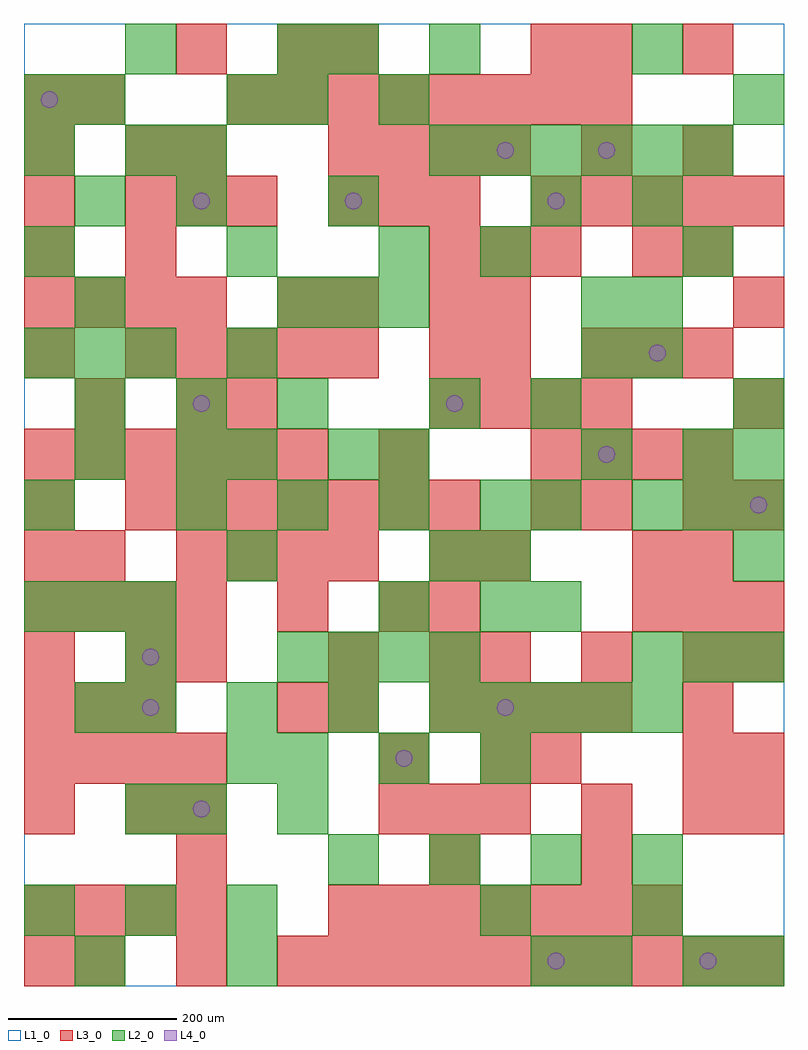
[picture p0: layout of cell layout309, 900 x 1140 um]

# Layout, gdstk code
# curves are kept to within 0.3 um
import gdstk
lib = gdstk.Library(unit=1e-6, precision=1e-09)
def R(c, l, rs):  # rectangles x0, y0, x1, y1
    for r in rs: c.add(gdstk.rectangle(r[:2], r[2:], *l))
def A(c, l, x, y, w, h, nx, ny, dx, dy):  # array of equal rectangles
    R(c, l, [(x+i*dx, y+j*dy, x+i*dx+w, y+j*dy+h) for i in range(nx) for j in range(ny)])
def P(c, l, *ps):  # polygons
    for p in ps: c.add(gdstk.Polygon(p, *l))
L1_0 = (1, 0)
L2_0 = (2, 0)
L3_0 = (3, 0)
L4_0 = (4, 0)

layout309 = lib.new_cell('layout309')
R(layout309, L1_0, [(0,0,900,1140)])
A(layout309, L2_0, 60, 0, 60, 60, 1, 3, 0, 300)
A(layout309, L2_0, 240, 0, 60, 60, 1, 3, 0, 240)
A(layout309, L2_0, 0, 60, 60, 60, 3, 1, 120, 0)
A(layout309, L2_0, 360, 120, 60, 60, 4, 1, 120, 0)
A(layout309, L2_0, 300, 240, 60, 60, 3, 1, 120, 0)
A(layout309, L2_0, 120, 300, 60, 60, 4, 1, 120, 0)
A(layout309, L2_0, 540, 300, 60, 60, 4, 1, 60, 0)
A(layout309, L2_0, 300, 360, 60, 60, 4, 1, 60, 0)
A(layout309, L2_0, 720, 360, 60, 60, 3, 2, 60, 180)
A(layout309, L2_0, 0, 420, 60, 60, 3, 2, 60, 300)
A(layout309, L2_0, 600, 420, 60, 60, 1, 3, 0, 120)
A(layout309, L2_0, 180, 540, 60, 60, 4, 1, 120, 0)
A(layout309, L2_0, 240, 600, 60, 60, 1, 3, 0, 120)
A(layout309, L2_0, 60, 660, 60, 60, 3, 1, 120, 0)
A(layout309, L2_0, 60, 780, 60, 60, 1, 3, 0, 120)
A(layout309, L2_0, 300, 780, 60, 60, 3, 1, 60, 0)
A(layout309, L2_0, 480, 960, 60, 60, 6, 1, 60, 0)
R(layout309, L2_0, [(600,0,660,60), (660,0,720,60), (780,0,840,60), (840,0,900,60), (540,60,600,120), (720,60,780,120), (120,180,180,240), (180,180,240,240), (300,180,360,240), (120,360,180,420), (420,420,480,480), (540,420,600,480), (480,480,540,540), (540,480,600,540), (840,480,900,540), (0,540,60,600), (180,600,240,660), (360,600,420,660), (420,600,480,660), (660,600,720,660), (780,600,840,660), (840,600,900,660), (480,660,540,720), (840,660,900,720), (660,720,720,780), (720,720,780,780), (660,780,720,840), (720,780,780,840), (0,840,60,900), (420,840,480,900), (540,840,600,900), (780,840,840,900), (180,900,240,960), (360,900,420,960), (600,900,660,960), (720,900,780,960), (0,960,60,1020), (120,960,180,1020), (180,960,240,1020), (0,1020,60,1080), (240,1020,300,1080), (300,1020,360,1080), (420,1020,480,1080), (840,1020,900,1080), (120,1080,180,1140), (300,1080,360,1140), (360,1080,420,1140), (480,1080,540,1140), (720,1080,780,1140)])
A(layout309, L3_0, 0, 0, 60, 60, 1, 3, 0, 180)
A(layout309, L3_0, 60, 0, 60, 60, 3, 1, 120, 0)
A(layout309, L3_0, 360, 0, 60, 60, 9, 1, 60, 0)
A(layout309, L3_0, 0, 60, 60, 60, 4, 3, 60, 180)
A(layout309, L3_0, 360, 60, 60, 60, 7, 1, 60, 0)
A(layout309, L3_0, 420, 180, 60, 60, 3, 1, 60, 0)
A(layout309, L3_0, 780, 180, 60, 60, 1, 3, 0, 60)
A(layout309, L3_0, 420, 240, 60, 60, 1, 3, 0, 180)
A(layout309, L3_0, 540, 240, 60, 60, 1, 3, 0, 240)
A(layout309, L3_0, 0, 300, 60, 60, 3, 1, 60, 0)
A(layout309, L3_0, 480, 300, 60, 60, 4, 2, 60, 360)
A(layout309, L3_0, 180, 360, 60, 60, 1, 3, 0, 300)
A(layout309, L3_0, 480, 360, 60, 60, 1, 3, 0, 60)
A(layout309, L3_0, 540, 360, 60, 60, 3, 1, 120, 0)
A(layout309, L3_0, 720, 420, 60, 60, 3, 1, 60, 0)
A(layout309, L3_0, 180, 480, 60, 60, 4, 1, 60, 0)
A(layout309, L3_0, 120, 540, 60, 60, 7, 1, 60, 0)
A(layout309, L3_0, 840, 540, 60, 60, 1, 3, 0, 120)
A(layout309, L3_0, 0, 600, 60, 60, 6, 1, 60, 0)
A(layout309, L3_0, 600, 600, 60, 60, 4, 1, 60, 0)
A(layout309, L3_0, 120, 720, 60, 60, 5, 1, 60, 0)
A(layout309, L3_0, 660, 720, 60, 60, 3, 1, 60, 0)
A(layout309, L3_0, 0, 780, 60, 60, 4, 1, 60, 0)
A(layout309, L3_0, 0, 840, 60, 60, 1, 4, 0, 60)
A(layout309, L3_0, 480, 840, 60, 60, 3, 1, 60, 0)
A(layout309, L3_0, 780, 840, 60, 60, 1, 3, 0, 120)
A(layout309, L3_0, 120, 900, 60, 60, 3, 1, 60, 0)
A(layout309, L3_0, 360, 900, 60, 60, 3, 1, 60, 0)
A(layout309, L3_0, 600, 900, 60, 60, 5, 1, 60, 0)
A(layout309, L3_0, 360, 960, 60, 60, 4, 1, 60, 0)
A(layout309, L3_0, 240, 1020, 60, 60, 8, 1, 60, 0)
R(layout309, L3_0, [(180,120,240,180), (480,120,540,180), (660,120,720,180), (120,180,180,240), (180,180,240,240), (660,180,720,240), (840,180,900,240), (600,240,660,300), (840,240,900,300), (300,300,360,360), (360,300,420,360), (120,360,180,420), (360,360,420,420), (840,360,900,420), (300,420,360,480), (0,480,60,540), (60,480,120,540), (720,480,780,540), (780,480,840,540), (0,540,60,600), (600,540,660,600), (660,540,720,600), (780,540,840,600), (60,660,120,720), (240,660,300,720), (0,720,60,780), (480,720,540,780), (300,780,360,840), (360,780,420,840), (480,780,540,840), (540,780,600,840), (120,840,180,900), (720,840,780,900), (120,960,180,1020), (660,960,720,1020), (60,1020,120,1080), (180,1080,240,1140), (300,1080,360,1140), (360,1080,420,1140), (600,1080,660,1140), (660,1080,720,1140)])
P(layout309, L4_0, [(40,1050),(39.239,1053.827),(37.071,1057.071),(33.827,1059.239),(30,1060),(26.173,1059.239),(22.929,1057.071),(20.761,1053.827),(20,1050),(20.761,1046.173),(22.929,1042.929),(26.173,1040.761),(30,1040),(33.827,1040.761),(37.071,1042.929),(39.239,1046.173)],
  [(160,330),(159.239,333.827),(157.071,337.071),(153.827,339.239),(150,340),(146.173,339.239),(142.929,337.071),(140.761,333.827),(140,330),(140.761,326.173),(142.929,322.929),(146.173,320.761),(150,320),(153.827,320.761),(157.071,322.929),(159.239,326.173)],
  [(160,390),(159.239,393.827),(157.071,397.071),(153.827,399.239),(150,400),(146.173,399.239),(142.929,397.071),(140.761,393.827),(140,390),(140.761,386.173),(142.929,382.929),(146.173,380.761),(150,380),(153.827,380.761),(157.071,382.929),(159.239,386.173)],
  [(220,210),(219.239,213.827),(217.071,217.071),(213.827,219.239),(210,220),(206.173,219.239),(202.929,217.071),(200.761,213.827),(200,210),(200.761,206.173),(202.929,202.929),(206.173,200.761),(210,200),(213.827,200.761),(217.071,202.929),(219.239,206.173)],
  [(220,690),(219.239,693.827),(217.071,697.071),(213.827,699.239),(210,700),(206.173,699.239),(202.929,697.071),(200.761,693.827),(200,690),(200.761,686.173),(202.929,682.929),(206.173,680.761),(210,680),(213.827,680.761),(217.071,682.929),(219.239,686.173)],
  [(220,930),(219.239,933.827),(217.071,937.071),(213.827,939.239),(210,940),(206.173,939.239),(202.929,937.071),(200.761,933.827),(200,930),(200.761,926.173),(202.929,922.929),(206.173,920.761),(210,920),(213.827,920.761),(217.071,922.929),(219.239,926.173)],
  [(400,930),(399.239,933.827),(397.071,937.071),(393.827,939.239),(390,940),(386.173,939.239),(382.929,937.071),(380.761,933.827),(380,930),(380.761,926.173),(382.929,922.929),(386.173,920.761),(390,920),(393.827,920.761),(397.071,922.929),(399.239,926.173)],
  [(460,270),(459.239,273.827),(457.071,277.071),(453.827,279.239),(450,280),(446.173,279.239),(442.929,277.071),(440.761,273.827),(440,270),(440.761,266.173),(442.929,262.929),(446.173,260.761),(450,260),(453.827,260.761),(457.071,262.929),(459.239,266.173)],
  [(520,690),(519.239,693.827),(517.071,697.071),(513.827,699.239),(510,700),(506.173,699.239),(502.929,697.071),(500.761,693.827),(500,690),(500.761,686.173),(502.929,682.929),(506.173,680.761),(510,680),(513.827,680.761),(517.071,682.929),(519.239,686.173)],
  [(580,330),(579.239,333.827),(577.071,337.071),(573.827,339.239),(570,340),(566.173,339.239),(562.929,337.071),(560.761,333.827),(560,330),(560.761,326.173),(562.929,322.929),(566.173,320.761),(570,320),(573.827,320.761),(577.071,322.929),(579.239,326.173)],
  [(580,990),(579.239,993.827),(577.071,997.071),(573.827,999.239),(570,1000),(566.173,999.239),(562.929,997.071),(560.761,993.827),(560,990),(560.761,986.173),(562.929,982.929),(566.173,980.761),(570,980),(573.827,980.761),(577.071,982.929),(579.239,986.173)],
  [(640,30),(639.239,33.827),(637.071,37.071),(633.827,39.239),(630,40),(626.173,39.239),(622.929,37.071),(620.761,33.827),(620,30),(620.761,26.173),(622.929,22.929),(626.173,20.761),(630,20),(633.827,20.761),(637.071,22.929),(639.239,26.173)],
  [(640,930),(639.239,933.827),(637.071,937.071),(633.827,939.239),(630,940),(626.173,939.239),(622.929,937.071),(620.761,933.827),(620,930),(620.761,926.173),(622.929,922.929),(626.173,920.761),(630,920),(633.827,920.761),(637.071,922.929),(639.239,926.173)],
  [(700,630),(699.239,633.827),(697.071,637.071),(693.827,639.239),(690,640),(686.173,639.239),(682.929,637.071),(680.761,633.827),(680,630),(680.761,626.173),(682.929,622.929),(686.173,620.761),(690,620),(693.827,620.761),(697.071,622.929),(699.239,626.173)],
  [(700,990),(699.239,993.827),(697.071,997.071),(693.827,999.239),(690,1000),(686.173,999.239),(682.929,997.071),(680.761,993.827),(680,990),(680.761,986.173),(682.929,982.929),(686.173,980.761),(690,980),(693.827,980.761),(697.071,982.929),(699.239,986.173)],
  [(760,750),(759.239,753.827),(757.071,757.071),(753.827,759.239),(750,760),(746.173,759.239),(742.929,757.071),(740.761,753.827),(740,750),(740.761,746.173),(742.929,742.929),(746.173,740.761),(750,740),(753.827,740.761),(757.071,742.929),(759.239,746.173)],
  [(820,30),(819.239,33.827),(817.071,37.071),(813.827,39.239),(810,40),(806.173,39.239),(802.929,37.071),(800.761,33.827),(800,30),(800.761,26.173),(802.929,22.929),(806.173,20.761),(810,20),(813.827,20.761),(817.071,22.929),(819.239,26.173)],
  [(880,570),(879.239,573.827),(877.071,577.071),(873.827,579.239),(870,580),(866.173,579.239),(862.929,577.071),(860.761,573.827),(860,570),(860.761,566.173),(862.929,562.929),(866.173,560.761),(870,560),(873.827,560.761),(877.071,562.929),(879.239,566.173)])

lib.write_gds('layout309.gds')
